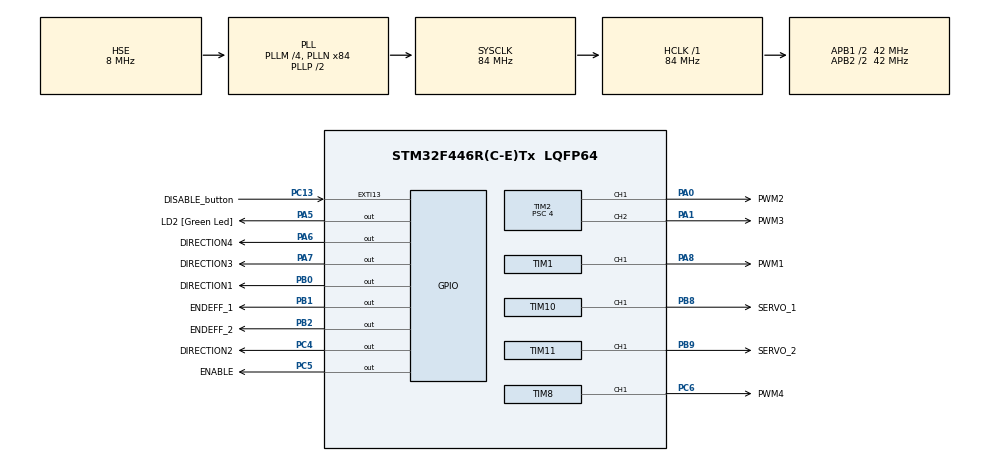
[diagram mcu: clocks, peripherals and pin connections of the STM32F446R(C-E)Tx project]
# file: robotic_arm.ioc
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Mcu.Family=STM32F4
Mcu.Name=STM32F446R(C-E)Tx
Mcu.Package=LQFP64
NVIC.EXTI15_10_IRQn=true\:0\:0\:true\:false\:true\:true\:true\:true
NVIC.PriorityGroup=NVIC_PRIORITYGROUP_1
NVIC.TIM1_CC_IRQn=true\:1\:0\:true\:false\:true\:true\:true\:true
NVIC.TIM2_IRQn=true\:1\:0\:true\:false\:true\:true\:true\:true
NVIC.TIM6_DAC_IRQn=true\:0\:0\:false\:false\:true\:true\:true\:true
NVIC.TIM8_BRK_TIM12_IRQn=true\:1\:0\:true\:false\:true\:true\:true\:true
NVIC.TIM8_CC_IRQn=true\:1\:0\:true\:false\:true\:true\:true\:true
NVIC.TIM8_TRG_COM_TIM14_IRQn=true\:1\:0\:true\:false\:true\:true\:true\:true
NVIC.TIM8_UP_TIM13_IRQn=true\:1\:0\:true\:false\:true\:true\:true\:true
PA0-WKUP.GPIO_Label=PWM2
PA0-WKUP.Signal=S_TIM2_CH1_ETR
PA1.GPIO_Label=PWM3
PA1.Signal=S_TIM2_CH2
PA13.GPIO_Label=TMS
PA13.Mode=Serial_Wire
PA13.Signal=SYS_JTMS-SWDIO
PA14.GPIO_Label=TCK
PA14.Mode=Serial_Wire
PA14.Signal=SYS_JTCK-SWCLK
PA2.GPIO_Label=USART_TX
PA2.Signal=USART2_TX
PA5.GPIO_Label=LD2 [Green Led]
PA5.Signal=GPIO_Output
PA6.GPIO_Label=DIRECTION4
PA6.GPIO_PuPd=GPIO_PULLDOWN
PA6.Signal=GPIO_Output
PA7.GPIO_Label=DIRECTION3
PA7.GPIO_PuPd=GPIO_PULLDOWN
PA7.Signal=GPIO_Output
PA8.GPIO_Label=PWM1
PA8.Signal=S_TIM1_CH1
PB0.GPIO_Label=DIRECTION1
PB0.GPIO_ModeDefaultOutputPP=GPIO_MODE_OUTPUT_PP
PB0.GPIO_PuPd=GPIO_PULLDOWN
PB0.Signal=GPIO_Output
PB1.GPIO_Label=ENDEFF_1
PB1.GPIO_PuPd=GPIO_PULLDOWN
PB1.PinState=GPIO_PIN_SET
PB1.Signal=GPIO_Output
PB2.GPIO_Label=ENDEFF_2
PB2.GPIO_PuPd=GPIO_PULLDOWN
PB2.PinState=GPIO_PIN_SET
PB2.Signal=GPIO_Output
PB3.GPIO_Label=SWO
PB3.Signal=SYS_JTDO-SWO
PB8.GPIO_Label=SERVO_1
PB8.Signal=S_TIM10_CH1
PB9.GPIO_Label=SERVO_2
PB9.Signal=S_TIM11_CH1
PC13.GPIO_Label=DISABLE_button
PC13.Signal=GPXTI13
PC14-OSC32_IN.Mode=LSE-External-Oscillator
PC14-OSC32_IN.Signal=RCC_OSC32_IN
PC15-OSC32_OUT.Mode=LSE-External-Oscillator
PC15-OSC32_OUT.Signal=RCC_OSC32_OUT
PC4.GPIO_Label=DIRECTION2
PC4.GPIO_PuPd=GPIO_PULLDOWN
PC4.Signal=GPIO_Output
PC5.GPIO_Label=ENABLE
PC5.GPIO_PuPd=GPIO_PULLUP
PC5.GPIO_Speed=GPIO_SPEED_FREQ_HIGH
PC5.PinState=GPIO_PIN_SET
PC5.Signal=GPIO_Output
PC6.GPIO_Label=PWM4
PC6.Signal=S_TIM8_CH1
PH0-OSC_IN.Mode=HSE-External-Oscillator
PH0-OSC_IN.Signal=RCC_OSC_IN
PH1-OSC_OUT.Mode=HSE-External-Oscillator
PH1-OSC_OUT.Signal=RCC_OSC_OUT
ProjectManager.HeapSize=0x200
ProjectManager.StackSize=0x400
ProjectManager.TargetToolchain=STM32CubeIDE
RCC.48MHZClocksFreq_Value=84000000
RCC.AHBFreq_Value=84000000
RCC.APB1CLKDivider=RCC_HCLK_DIV2
RCC.APB1Freq_Value=42000000
RCC.APB1TimFreq_Value=84000000
RCC.APB2CLKDivider=RCC_HCLK_DIV2
RCC.APB2Freq_Value=42000000
RCC.APB2TimFreq_Value=84000000
RCC.CortexFreq_Value=84000000
RCC.FLatency-AdvancedSettings=FLASH_LATENCY_2
RCC.HCLKFreq_Value=84000000
RCC.HSE_VALUE=8000000
RCC.HSI_VALUE=16000000
RCC.PLLM=4
RCC.PLLN=84
RCC.PLLSourceVirtual=RCC_PLLSOURCE_HSE
RCC.SYSCLKFreq_VALUE=84000000
RCC.SYSCLKSource=RCC_SYSCLKSOURCE_PLLCLK
RCC.USBFreq_Value=84000000
RCC.VCOOutputFreq_Value=168000000
SH.S_TIM10_CH1.0=TIM10_CH1,PWM Generation1 CH1
SH.S_TIM11_CH1.0=TIM11_CH1,PWM Generation1 CH1
SH.S_TIM1_CH1.0=TIM1_CH1,PWM Generation1 CH1
SH.S_TIM2_CH1_ETR.0=TIM2_CH1,PWM Generation1 CH1
SH.S_TIM2_CH2.0=TIM2_CH2,PWM Generation2 CH2
SH.S_TIM8_CH1.0=TIM8_CH1,PWM Generation1 CH1
TIM1.AutoReloadPreload=TIM_AUTORELOAD_PRELOAD_ENABLE
TIM1.Channel-PWM\ Generation1\ CH1=TIM_CHANNEL_1
TIM1.OCFastMode_PWM-PWM\ Generation1\ CH1=TIM_OCFAST_ENABLE
TIM1.Period=65535
TIM1.Prescaler=4
TIM1.Pulse-PWM\ Generation1\ CH1=32768
TIM1.TIM_MasterOutputTrigger=TIM_TRGO_UPDATE
TIM1.TIM_MasterSlaveMode=TIM_MASTERSLAVEMODE_ENABLE
TIM10.AutoReloadPreload=TIM_AUTORELOAD_PRELOAD_ENABLE
TIM10.Channel=TIM_CHANNEL_1
TIM10.OCFastMode_PWM=TIM_OCFAST_ENABLE
TIM10.Pulse=1
TIM11.AutoReloadPreload=TIM_AUTORELOAD_PRELOAD_ENABLE
TIM11.Channel=TIM_CHANNEL_1
TIM11.OCFastMode_PWM=TIM_OCFAST_ENABLE
TIM11.Pulse=1
TIM2.AutoReloadPreload=TIM_AUTORELOAD_PRELOAD_ENABLE
TIM2.Channel-PWM\ Generation1\ CH1=TIM_CHANNEL_1
TIM2.Channel-PWM\ Generation2\ CH2=TIM_CHANNEL_2
TIM2.OCFastMode_PWM-PWM\ Generation1\ CH1=TIM_OCFAST_ENABLE
TIM2.OCFastMode_PWM-PWM\ Generation2\ CH2=TIM_OCFAST_ENABLE
TIM2.Period=65535
TIM2.Prescaler=4
TIM2.Pulse-PWM\ Generation1\ CH1=32768
TIM2.Pulse-PWM\ Generation2\ CH2=32768
TIM2.TIM_MasterOutputTrigger=TIM_TRGO_UPDATE
TIM2.TIM_MasterSlaveMode=TIM_MASTERSLAVEMODE_ENABLE
TIM3.AutoReloadPreload=TIM_AUTORELOAD_PRELOAD_ENABLE
TIM3.CounterMode=TIM_COUNTERMODE_UP
TIM3.Period=199
TIM3.Prescaler=65535
TIM3.TIM_MasterOutputTrigger=TIM_TRGO_RESET
TIM3.TIM_MasterSlaveMode=TIM_MASTERSLAVEMODE_DISABLE
TIM4.AutoReloadPreload=TIM_AUTORELOAD_PRELOAD_ENABLE
TIM4.Period=199
TIM4.Prescaler=65535
TIM5.AutoReloadPreload=TIM_AUTORELOAD_PRELOAD_DISABLE
TIM5.Period=199
TIM5.Prescaler=65535
TIM5.TIM_MasterOutputTrigger=TIM_TRGO_RESET
TIM5.TIM_MasterSlaveMode=TIM_MASTERSLAVEMODE_DISABLE
TIM6.Period=59999
TIM6.Prescaler=1400*3
TIM8.AutoReloadPreload=TIM_AUTORELOAD_PRELOAD_ENABLE
TIM8.Channel-PWM\ Generation1\ CH1=TIM_CHANNEL_1
TIM8.OCFastMode_PWM-PWM\ Generation1\ CH1=TIM_OCFAST_ENABLE
TIM8.Period=65535
TIM8.Prescaler=4
TIM8.Pulse-PWM\ Generation1\ CH1=32768
TIM8.TIM_MasterOutputTrigger=TIM_TRGO_UPDATE
TIM8.TIM_MasterSlaveMode=TIM_MASTERSLAVEMODE_ENABLE
VP_TIM10_VS_ClockSourceINT.Mode=Enable_Timer
VP_TIM11_VS_ClockSourceINT.Mode=Enable_Timer
VP_TIM1_VS_ClockSourceINT.Mode=Internal
VP_TIM2_VS_ClockSourceINT.Mode=Internal
VP_TIM3_VS_ClockSourceINT.Mode=Internal
VP_TIM3_VS_ClockSourceITR.Mode=TriggerSource_ITR1
VP_TIM3_VS_ControllerModeTrigger.Mode=Trigger Mode
VP_TIM4_VS_ClockSourceINT.Mode=Internal
VP_TIM4_VS_ClockSourceITR.Mode=TriggerSource_ITR0
VP_TIM4_VS_ControllerModeTrigger.Mode=Trigger Mode
VP_TIM5_VS_ClockSourceINT.Mode=Internal
VP_TIM5_VS_ClockSourceITR.Mode=TriggerSource_ITR3
VP_TIM5_VS_ControllerModeTrigger.Mode=Trigger Mode
VP_TIM6_VS_ClockSourceINT.Mode=Enable_Timer
VP_TIM8_VS_ClockSourceINT.Mode=Internal
board=NUCLEO-F446RE

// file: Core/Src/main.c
/* USER CODE BEGIN Header */
/**
 ******************************************************************************
 * @file           : main.c
 * @brief          : Main program body
 ******************************************************************************
 * @attention
 *
 * Copyright (c) 2025 STMicroelectronics.
 * All rights reserved.
 *
 * This software is licensed under terms that can be found in the LICENSE file
 * in the root directory of this software component.
 * If no LICENSE file comes with this software, it is provided AS-IS.
 *
 ******************************************************************************
 */
/* USER CODE END Header */
#include "main.h"
#include "tim.h"
#include "gpio.h"

/* USER CODE BEGIN Includes */
#include "stepper.h"
#include "servo.h"
#include "end_eff_gpio.h"

#define TRAPEZOIDAL_PROFILE //COMMENT THIS IF YOU DON'T WANT THIS MOTION PROFILE FOR THE STEPPERS

#ifdef TRAPEZOIDAL_PROFILE
#include "trapezoidal_profile.h"
#include "trapezoidal_profile.c"
#endif

#ifndef TRAPEZOIDAL_PROFILE
#include "stp_callback.c"
#endif

/* USER CODE END Includes */

/* USER CODE BEGIN PV */
static stepper_obj stp1;
static stepper_obj stp2;
static stepper_obj stp3;
static stepper_obj stp4;
static servo_obj srv1;
static servo_obj srv2;
static gripper_obj grip;
int val = 0;
GPIO_PinState state1;
GPIO_PinState state2;

/* USER CODE END PV */

void SystemClock_Config(void);

int main(void)
{

  /* MCU Configuration--------------------------------------------------------*/

  /* Reset of all peripherals, Initializes the Flash interface and the Systick. */
  HAL_Init();

  /* Configure the system clock */
  SystemClock_Config();

  /* Initialize all configured peripherals */
  MX_GPIO_Init();
  MX_TIM3_Init();
  MX_TIM5_Init();
  MX_TIM1_Init();
  MX_TIM2_Init();
  MX_TIM4_Init();
  MX_TIM8_Init();
  MX_TIM10_Init();
  MX_TIM11_Init();
  MX_TIM6_Init();
  /* USER CODE BEGIN 2 */
	HAL_TIM_Base_Start(&htim4); //start timer 1st joint
	HAL_TIM_Base_Start(&htim3); //start timer 2nd joint
	HAL_TIM_Base_Start(&htim5); //start timer 3rd joint

	HAL_GPIO_WritePin(ENABLE_GPIO_Port, ENABLE_Pin, GPIO_PIN_RESET); //ENABLE stepper motors

	/* stepper_init(obj, timer pwm, timer slave, resol, microstep, enable_port, direction_port */
	stepper_init(&stp1, &htim1, &htim4, 1.8, 4 * 4.27, DIRECTION1_GPIO_Port,
	DIRECTION1_Pin);
	stepper_init(&stp2, &htim2, &htim3, 1.8, 4 * 6, DIRECTION2_GPIO_Port,
	DIRECTION2_Pin);
	stepper_init(&stp3, &htim2, &htim3, 1.8, 4 * 6, DIRECTION3_GPIO_Port,
	DIRECTION3_Pin);
	stepper_init(&stp4, &htim8, &htim5, 1.8, 8 * 4.9, DIRECTION4_GPIO_Port,
	DIRECTION4_Pin);

	//servo: default position 0° in the range {-90,+90}
	/*servo_init(obj, timer pwm)*/
	servo_init(&srv1, &htim10);
	servo_init(&srv2, &htim11);

	gripper_init(&grip, &htim6);

	//gripper_config(obj, function, timer)
	//gripper_config(&grip, 3, 1); //opening
	gripper_config(&grip, 2, 1); //closening
	gripper_config(&grip, 4, 1);

  /* USER CODE END 2 */

  /* Infinite loop */
  /* USER CODE BEGIN WHILE */

	while (1) {

		//HAL_Delay(10);
    /* USER CODE END WHILE */

	}
}

void SystemClock_Config(void)
{
  RCC_OscInitTypeDef RCC_OscInitStruct = {0};
  RCC_ClkInitTypeDef RCC_ClkInitStruct = {0};

  /** Configure the main internal regulator output voltage
  */
  __HAL_RCC_PWR_CLK_ENABLE();
  __HAL_PWR_VOLTAGESCALING_CONFIG(PWR_REGULATOR_VOLTAGE_SCALE3);

  /** Initializes the RCC Oscillators according to the specified parameters
  * in the RCC_OscInitTypeDef structure.
  */
  RCC_OscInitStruct.OscillatorType = RCC_OSCILLATORTYPE_HSE;
  RCC_OscInitStruct.HSEState = RCC_HSE_ON;
  RCC_OscInitStruct.PLL.PLLState = RCC_PLL_ON;
  RCC_OscInitStruct.PLL.PLLSource = RCC_PLLSOURCE_HSE;
  RCC_OscInitStruct.PLL.PLLM = 4;
  RCC_OscInitStruct.PLL.PLLN = 84;
  RCC_OscInitStruct.PLL.PLLP = RCC_PLLP_DIV2;
  RCC_OscInitStruct.PLL.PLLQ = 2;
  RCC_OscInitStruct.PLL.PLLR = 2;
  if (HAL_RCC_OscConfig(&RCC_OscInitStruct) != HAL_OK)
  {
    Error_Handler();
  }

  /** Initializes the CPU, AHB and APB buses clocks
  */
  RCC_ClkInitStruct.ClockType = RCC_CLOCKTYPE_HCLK|RCC_CLOCKTYPE_SYSCLK
                              |RCC_CLOCKTYPE_PCLK1|RCC_CLOCKTYPE_PCLK2;
  RCC_ClkInitStruct.SYSCLKSource = RCC_SYSCLKSOURCE_PLLCLK;
  RCC_ClkInitStruct.AHBCLKDivider = RCC_SYSCLK_DIV1;
  RCC_ClkInitStruct.APB1CLKDivider = RCC_HCLK_DIV2;
  RCC_ClkInitStruct.APB2CLKDivider = RCC_HCLK_DIV2;

  if (HAL_RCC_ClockConfig(&RCC_ClkInitStruct, FLASH_LATENCY_2) != HAL_OK)
  {
    Error_Handler();
  }
}

void Error_Handler(void)
{
	__disable_irq();
	while (1) {
	}
}
